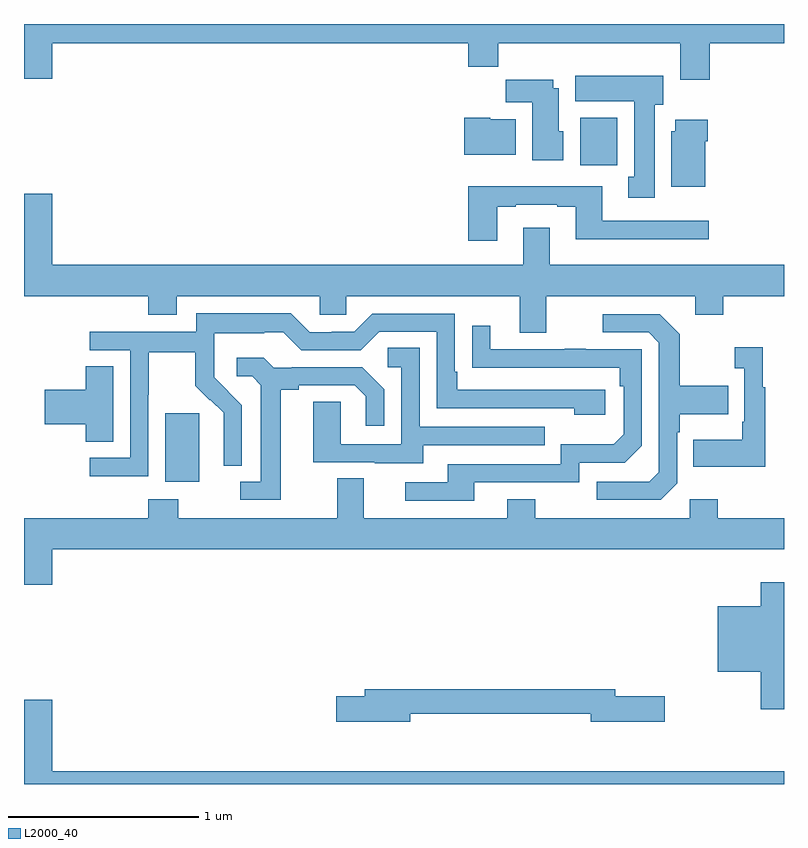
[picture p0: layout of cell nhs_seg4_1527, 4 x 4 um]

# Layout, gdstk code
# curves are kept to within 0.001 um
import gdstk
lib = gdstk.Library(unit=1e-6, precision=1e-09)
def R(c, l, rs):  # rectangles x0, y0, x1, y1
    for r in rs: c.add(gdstk.rectangle(r[:2], r[2:], *l))
def P(c, l, *ps):  # polygons
    for p in ps: c.add(gdstk.Polygon(p, *l))
L2000_40 = (2000, 40)

nhs_seg4_1527 = lib.new_cell('nhs_seg4_1527')
R(nhs_seg4_1527, L2000_40, [(189.743,814.49,189.922,814.851), (191.927,816.156,192.123,816.406)])
P(nhs_seg4_1527, L2000_40, [(192.608,816.8),(193,816.8),(193,816.9),(189,816.9),(189,816.612),(189.148,816.612),(189.148,816.8),(191.339,816.8),(191.339,816.676),(191.495,816.676),(191.495,816.8),(192.455,816.8),(192.455,816.606),(192.608,816.606)],
  [(192.319,816.474),(192.364,816.474),(192.364,816.628),(191.9,816.628),(191.9,816.494),(192.212,816.494),(192.212,816.097),(192.179,816.097),(192.179,815.985),(192.319,815.985)],
  [(191.839,816.336),(191.815,816.336),(191.815,816.562),(191.785,816.562),(191.785,816.607),(191.536,816.607),(191.536,816.488),(191.675,816.488),(191.675,816.182),(191.839,816.182)],
  [(191.587,816.4),(191.454,816.4),(191.454,816.406),(191.318,816.406),(191.318,816.212),(191.587,816.212)],
  [(192.586,816.284),(192.599,816.284),(192.599,816.397),(192.428,816.397),(192.428,816.336),(192.407,816.336),(192.407,816.044),(192.586,816.044)],
  [(191.491,815.937),(191.587,815.937),(191.587,815.949),(191.807,815.949),(191.807,815.937),(191.903,815.937),(191.903,815.768),(192.604,815.768),(192.604,815.865),(192.043,815.865),(192.043,816.046),(191.339,816.046),(191.339,815.76),(191.491,815.76)],
  [(191.749,815.468),(192.533,815.468),(192.533,815.369),(192.681,815.369),(192.681,815.468),(193,815.468),(193,815.632),(191.767,815.632),(191.767,815.827),(191.627,815.827),(191.627,815.632),(189.148,815.632),(189.148,816.007),(189,816.007),(189,815.468),(189.653,815.468),(189.653,815.369),(189.805,815.369),(189.805,815.468),(190.557,815.468),(190.557,815.37),(190.695,815.37),(190.695,815.468),(191.609,815.468),(191.609,815.274),(191.749,815.274)],
  [(189.654,814.948),(189.657,814.948),(189.657,815.172),(189.901,815.172),(189.901,814.997),(189.978,814.92),(189.981,814.923),(190.052,814.853),(190.052,814.73),(190.05,814.73),(190.05,814.576),(190.146,814.576),(190.146,814.894),(190,815.042),(190,815.139),(190.002,815.139),(190.002,815.273),(190.265,815.273),(190.265,815.277),(190.365,815.277),(190.458,815.184),(190.773,815.184),(190.869,815.28),(191.172,815.28),(191.172,814.878),(191.897,814.878),(191.897,814.844),(192.058,814.844),(192.058,814.974),(191.281,814.974),(191.281,815.071),(191.268,815.071),(191.268,815.376),(190.833,815.376),(190.737,815.28),(190.619,815.28),(190.619,815.277),(190.503,815.277),(190.403,815.377),(189.906,815.377),(189.906,815.28),(189.345,815.28),(189.345,815.184),(189.558,815.184),(189.558,814.617),(189.345,814.617),(189.345,814.519),(189.654,814.519)],
  [(192.438,814.482),(192.438,814.751),(192.451,814.751),(192.451,814.847),(192.707,814.847),(192.707,814.995),(192.451,814.995),(192.451,815.267),(192.345,815.373),(192.045,815.373),(192.045,815.277),(192.288,815.277),(192.342,815.223),(192.342,814.542),(192.291,814.491),(192.015,814.491),(192.015,814.395),(192.351,814.395)],
  [(191.371,814.488),(191.922,814.488),(191.922,814.59),(192.162,814.59),(192.252,814.68),(192.252,815.187),(191.957,815.187),(191.957,815.192),(191.845,815.192),(191.845,815.187),(191.455,815.187),(191.455,815.311),(191.359,815.311),(191.359,815.092),(192.136,815.091),(192.136,814.994),(192.156,814.994),(192.156,814.74),(192.103,814.687),(191.826,814.687),(191.826,814.584),(191.231,814.584),(191.231,814.488),(191.007,814.488),(191.007,814.392),(191.371,814.392)],
  [(192.901,814.987),(192.889,814.987),(192.889,815.2),(192.741,815.2),(192.741,815.087),(192.792,815.087),(192.792,814.807),(192.78,814.807),(192.78,814.711),(192.523,814.711),(192.523,814.571),(192.901,814.571)],
  [(191.101,814.683),(191.741,814.683),(191.741,814.779),(191.082,814.779),(191.082,815.195),(190.914,815.195),(190.914,815.094),(190.986,815.094),(190.986,814.689),(190.668,814.689),(190.668,814.913),(190.523,814.913),(190.523,814.593),(190.847,814.593),(190.847,814.589),(191.101,814.589)],
  [(190.351,814.976),(190.447,814.976),(190.447,814.998),(190.742,814.998),(190.799,814.941),(190.799,814.785),(190.896,814.785),(190.896,814.978),(190.78,815.094),(190.408,815.094),(190.408,815.091),(190.314,815.091),(190.262,815.143),(190.119,815.143),(190.119,815.046),(190.2,815.046),(190.247,814.999),(190.247,814.491),(190.137,814.491),(190.137,814.395),(190.351,814.395)],
  [(189.469,815.099),(189.326,815.099),(189.326,814.976),(189.108,814.976),(189.108,814.793),(189.326,814.793),(189.326,814.702),(189.469,814.702)],
  [(193,814.3),(192.651,814.3),(192.651,814.399),(192.504,814.399),(192.504,814.3),(191.691,814.3),(191.691,814.399),(191.543,814.399),(191.543,814.3),(190.789,814.3),(190.789,814.508),(190.649,814.508),(190.649,814.3),(189.813,814.3),(189.813,814.399),(189.653,814.399),(189.653,814.3),(189,814.3),(189,813.948),(189.148,813.948),(189.148,814.136),(193,814.136)],
  [(193,813.961),(192.878,813.961),(192.878,813.835),(192.65,813.835),(192.65,813.491),(192.878,813.491),(192.878,813.294),(193,813.294)],
  [(191.032,813.27),(191.984,813.27),(191.984,813.227),(192.373,813.227),(192.373,813.362),(192.112,813.362),(192.112,813.398),(190.793,813.398),(190.793,813.362),(190.644,813.362),(190.644,813.227),(191.032,813.227)],
  [(189.148,813.343),(189,813.343),(189,812.9),(193,812.9),(193,812.968),(189.148,812.968)])

lib.write_gds('nhs_seg4_1527.gds')
